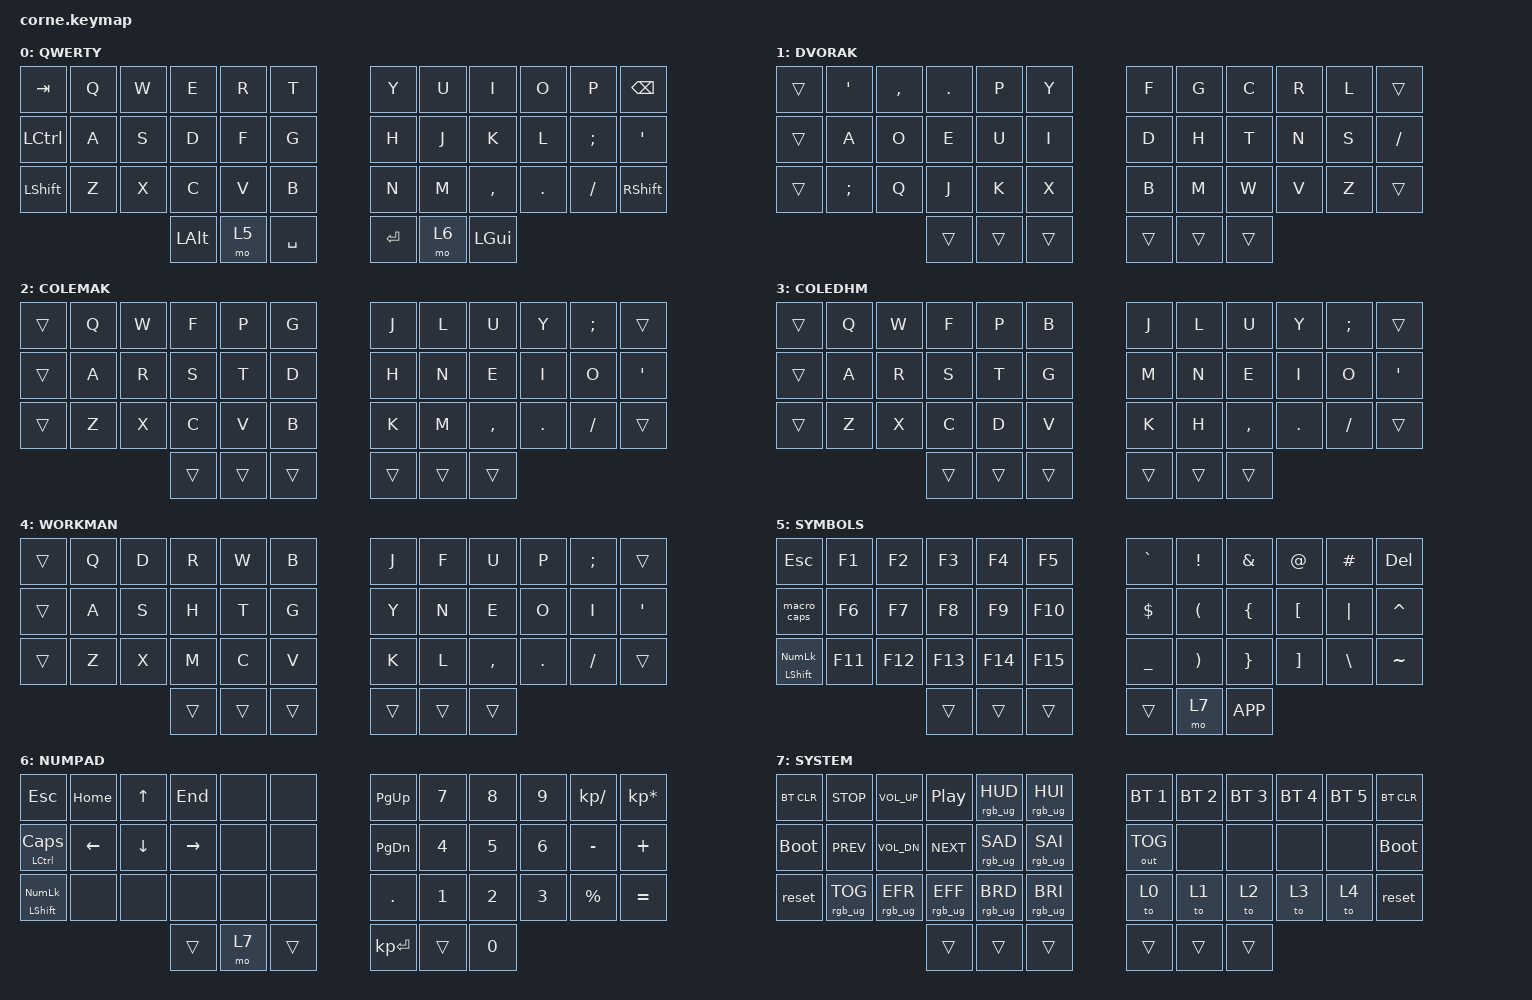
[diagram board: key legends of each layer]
/* CUSTOM FIRMWARE BELOW THIS LINE *********************************************
   https://zmkfirmware.dev/docs/codes/
   https://zmkfirmware.dev/docs/features/keymaps
   https://zmkfirmware.dev/docs/behaviors/key-press
   https://zmkfirmware.dev/docs/behaviors/layers
*******************************************************************************/
/*
 * Firmware modification by Frosthaven
 * <shane.stanley1983@gmail.com>
 */

#include <behaviors.dtsi>
#include <dt-bindings/zmk/keys.h>
#include <dt-bindings/zmk/bt.h>
#include <dt-bindings/zmk/rgb.h>
#include <dt-bindings/zmk/ext_power.h>
#include <dt-bindings/zmk/outputs.h>

&mt {
  tapping-term-ms = <200>;
};

/ {

  macros {
    // necessary for mac capslock to trigger
    ZMK_MACRO(macro_caps,
      tap-ms = <200>;
      bindings = <&kp CAPS>;
    )
  };

  keymap {
    compatible = "zmk,keymap";



    default_layer { // 0
      label = "QWERTY";
//  TAB  |   Q   |   W   |   E   |   R   |   T   ||   Y   |   U   |   I   |   O   |   P   | BKSPC
// CNTRL |   A   |   S   |   D   |   F   |   G   ||   H   |   J   |   K   |   L   |  ; :  |  ' "
// LSHFT |   Z   |   X   |   C   |   V   |   B   ||   N   |   M   |  , <  |  . >  |  / ?  | RSHFT
//                          ALT  | LOWER | SPACE || ENTER | RAISE |  GUI
      bindings = <
        &kp TAB   &kp Q &kp W     &kp E   &kp R &kp T &kp Y &kp U &kp I     &kp O   &kp P    &kp BSPC
        &kp LCTRL &kp A &kp S     &kp D   &kp F &kp G &kp H &kp J &kp K     &kp L   &kp SEMI &kp SQT
        &kp LSHFT &kp Z &kp X     &kp C   &kp V &kp B &kp N &kp M &kp COMMA &kp DOT &kp FSLH &kp RSHFT
        &kp LALT  &mo 5 &kp SPACE &kp RET &mo 6 &kp LGUI
      >;
    };



    dvorak_layer { // 1
      label = "DVORAK";
// _____ |  ' "  |  , <  |  . >  |   P   |   Y   ||   F   |   G   |   C   |   R   |   L   | _____
// _____ |   A   |   O   |   E   |   U   |   I   ||   D   |   H   |   T   |   N   |   S   |  / ? 
// _____ |  ; :  |   Q   |   J   |   K   |   X   ||   B   |   M   |   W   |   V   |   Z   | _____
//                         _____ | _____ | _____ || _____ | _____ | _____
      bindings = <
        &trans &kp SQT  &kp COMMA &kp DOT &kp P  &kp Y &kp F &kp G &kp C &kp R &kp L &trans
        &trans &kp A    &kp O     &kp E   &kp U  &kp I &kp D &kp H &kp T &kp N &kp S &kp FSLH
        &trans &kp SEMI &kp Q     &kp J   &kp K  &kp X &kp B &kp M &kp W &kp V &kp Z &trans
        &trans &trans   &trans    &trans  &trans &trans
      >;
    };


    colemak_layer { // 2
      label = "COLEMAK";
// _____ |   Q   |   W   |   F   |   P   |   G   ||   J   |   L   |   U   |   Y   |  ; :  | _____
// _____ |   A   |   R   |   S   |   T   |   D   ||   H   |   N   |   E   |   I   |   O   |  ' "  
// _____ |   Z   |   X   |   C   |   V   |   B   ||   K   |   M   |  , <  |  . >  |  / ?  | _____
//                         _____ | _____ | _____ || _____ | _____ | _____
      bindings = <
        &trans &kp Q  &kp W  &kp F  &kp P  &kp G &kp J &kp L &kp U     &kp Y   &kp SEMI &trans
        &trans &kp A  &kp R  &kp S  &kp T  &kp D &kp H &kp N &kp E     &kp I   &kp O    &kp SQT
        &trans &kp Z  &kp X  &kp C  &kp V  &kp B &kp K &kp M &kp COMMA &kp DOT &kp FSLH &trans
        &trans &trans &trans &trans &trans &trans
      >;
    };


    colemak_dhm_layer { // 3
      label = "COLEDHM";
// _____ |   Q   |   W   |   F   |   P   |   B   ||   J   |   L   |   U   |   Y   |  ; :  | _____
// _____ |   A   |   R   |   S   |   T   |   G   ||   M   |   N   |   E   |   I   |   O   |  ' "  
// _____ |   Z   |   X   |   C   |   D   |   V   ||   K   |   H   |  , <  |  . >  |  / ?  | _____
//                         _____ | _____ | _____ || _____ | _____ | _____
      bindings = <
        &trans &kp Q  &kp W  &kp F  &kp P  &kp B &kp J &kp L &kp U     &kp Y   &kp SEMI &trans
        &trans &kp A  &kp R  &kp S  &kp T  &kp G &kp M &kp N &kp E     &kp I   &kp O    &kp SQT
        &trans &kp Z  &kp X  &kp C  &kp D  &kp V &kp K &kp H &kp COMMA &kp DOT &kp FSLH &trans
        &trans &trans &trans &trans &trans &trans
      >;
    };



    workman_layer { // 4
      label = "WORKMAN";      
// _____ |   Q   |   D   |   R   |   W   |   B   ||   J   |   F   |   U   |   P   |  ; :  | _____
// _____ |   A   |   S   |   H   |   T   |   G   ||   Y   |   N   |   E   |   O   |   I   |  ' "  
// _____ |   Z   |   X   |   M   |   C   |   V   ||   K   |   L   |  , <  |  . >  |  / ?  | _____
//                         _____ | _____ | _____ || _____ | _____ | _____
      bindings = <
        &trans &kp Q  &kp D  &kp R  &kp W  &kp B &kp J &kp F &kp U     &kp P   &kp SEMI &trans
        &trans &kp A  &kp S  &kp H  &kp T  &kp G &kp Y &kp N &kp E     &kp O   &kp I    &kp SQT
        &trans &kp Z  &kp X  &kp M  &kp C  &kp V &kp K &kp L &kp COMMA &kp DOT &kp FSLH &trans
        &trans &trans &trans &trans &trans &trans
      >;
    };


    lower_layer { // 5
      label = "SYMBOLS";
//  ESC  |   F1  |   F2  |   F3  |   F4  |   F5  ||   `   |   !   |   &   |   @   |   #   |  DEL 
// _____ |   F6  |   F7  |   F8  |   F9  |  F10  ||   $   |   (   |   {   |   [   |   |   |   ^  
// _____ |  F11  |  F12  |  F13  |  F14  |  F15  ||   _   |   )   |   }   |   ]   |   \   |   ~
//                         _____ | _____ | _____ || _____ | ADJUS |  APP  
      bindings = <
        &kp ESC          &kp F1    &kp F2  &kp F3  &kp F4  &kp F5  &kp GRAVE &kp EXCL &kp AMPS &kp AT   &kp HASH      &kp DEL
        &macro_caps   &kp F6  &kp F7  &kp F8  &kp F9  &kp F10 &kp DLLR  &kp LPAR &kp LBRC &kp LBKT &kp PIPE      &kp CARET
        &mt LSHFT KP_NUM &kp F11 &kp F12 &kp F13 &kp F14 &kp F15 &kp UNDER &kp RPAR &kp RBRC &kp RBKT &kp BACKSLASH &kp TILDE
        &trans           &trans  &trans  &trans  &mo 7   &kp K_APP
      >;
    };



    raise_layer { // 6
      label = "NUMPAD";
//  ESC  |  HOME |   UP  |  END  | ..... | MOUS2 ||  PGUP |   7   |   8   |   9   |   /   |   *  
//  CAPS |  LEFT |  DOWN | RIGHT | MOUSU | MOUS1 ||  PGDN |   4   |   5   |   6   |   -   |   +  
// NUMLK | ..... | ..... | MOUSL | MOUSD | MOUSR ||   .   |   1   |   2   |   3   |   %   |   =  
//                         _____ | ADJUS | _____ || KENTR | _____ |   0  
      bindings = <
        &kp ESC          &kp HOME &kp UP   &kp END      &none    &none  &kp PG_UP  &kp N7 &kp N8 &kp N9 &kp KP_DIVIDE &kp KP_MULTIPLY
        &mt LCTRL CAPS   &kp LEFT &kp DOWN &kp RIGHT    &none    &none  &kp PG_DN  &kp N4 &kp N5 &kp N6 &kp MINUS     &kp PLUS
        &mt LSHFT KP_NUM &none    &none    &none        &none    &none  &kp DOT    &kp N1 &kp N2 &kp N3 &kp PERCENT   &kp EQUAL
        &trans           &mo 7    &trans   &kp KP_ENTER &trans   &kp N0
      >;
    };



    adjust_layer { // 7
      label = "SYSTEM";
// BTCLR |  STOP | VOLUP |  PLAY |  _HUD |  _HUI ||  BT1  |  BT2  |  BT3  |  BT4  |  BT5  | BTCLR
//  BOOT |  PREV | VOLDN |  NEXT |  _SAD |  _SAI || OUTPT | ..... | ..... | ..... | ..... |  BOOT
// RESET |  _TOG |  _EFR |  _EFF |  _BRD |  _BRI || QWERT | DVORK | CLMAK | CLDHM | WRKMN | RESET
//                         _____ | _____ | _____ || _____ | _____ | _____
      bindings = <
        &bt BT_CLR   &kp C_STOP       &kp C_VOL_UP    &kp C_PLAY_PAUSE &rgb_ug RGB_HUD &rgb_ug RGB_HUI &bt BT_SEL 1 &bt BT_SEL 2 &bt BT_SEL 3 &bt BT_SEL 4 &bt BT_SEL 5 &bt BT_CLR
        &bootloader  &kp C_PREV       &kp C_VOL_DN    &kp C_NEXT       &rgb_ug RGB_SAD &rgb_ug RGB_SAI &out OUT_TOG &none        &none        &none        &none        &bootloader
        &reset       &rgb_ug RGB_TOG  &rgb_ug RGB_EFR &rgb_ug RGB_EFF  &rgb_ug RGB_BRD &rgb_ug RGB_BRI &to 0        &to 1        &to 2        &to 3        &to 4        &reset
        &trans       &trans           &trans          &trans           &trans          &trans
      >;
    };



  };
};















/* DEFAULT FIRMWARE BELOW THIS LINE ********************************************
*******************************************************************************/
/*
 * Copyright (c) 2020 The ZMK Contributors
 *
 * SPDX-License-Identifier: MIT
 *

#include <behaviors.dtsi>
#include <dt-bindings/zmk/keys.h>
#include <dt-bindings/zmk/bt.h>

/ {
        keymap {
                compatible = "zmk,keymap";

                default_layer {
// -----------------------------------------------------------------------------------------
// |  TAB |  Q  |  W  |  E  |  R  |  T  |   |  Y  |  U   |  I  |  O  |  P  | BKSP |
// | CTRL |  A  |  S  |  D  |  F  |  G  |   |  H  |  J   |  K  |  L  |  ;  |  '   |
// | SHFT |  Z  |  X  |  C  |  V  |  B  |   |  N  |  M   |  ,  |  .  |  /  | SHFT |
//                    | GUI | LWR | SPC |   | ENT | RSE  | ALT |
                        bindings = <
   &kp TAB   &kp Q &kp W &kp E &kp R &kp T   &kp Y &kp U  &kp I     &kp O   &kp P    &kp BSPC
   &kp LCTRL &kp A &kp S &kp D &kp F &kp G   &kp H &kp J  &kp K     &kp L   &kp SEMI &kp SQT
   &kp LSHFT &kp Z &kp X &kp C &kp V &kp B   &kp N &kp M  &kp COMMA &kp DOT &kp FSLH &kp RSHFT
                  &kp LGUI &mo 1 &kp SPACE   &kp RET &mo 2 &kp RALT
                        >;
                };
                lower_layer {
// -----------------------------------------------------------------------------------------
// |  ESC |  1  |  2  |  3  |  4  |  5  |   |  6  |  7  |  8  |  9  |  0  | BKSP |
// | BTCLR| BT1 | BT2 | BT3 | BT4 | BT5 |   | LFT | DWN |  UP | RGT |     |      |
// | SHFT |     |     |     |     |     |   |     |     |     |     |     |      |
//                    | GUI |     | SPC |   | ENT |     | ALT |
                        bindings = <
   &kp ESC    &kp N1       &kp N2       &kp N3       &kp N4       &kp N5            &kp N6   &kp N7   &kp N8 &kp N9    &kp N0 &kp BSPC
   &bt BT_CLR &bt BT_SEL 0 &bt BT_SEL 1 &bt BT_SEL 2 &bt BT_SEL 3 &bt BT_SEL 4      &kp LEFT &kp DOWN &kp UP &kp RIGHT &trans &trans
   &kp LSHFT  &trans       &trans       &trans       &trans       &trans            &trans   &trans   &trans &trans    &trans &trans
                                        &kp LGUI     &trans       &kp SPACE         &kp RET &trans &kp RALT
                        >;
                };

                raise_layer {
// -----------------------------------------------------------------------------------------
// |  ESC |  !  |  @  |  #  |  $  |  %  |   |  ^  |  &  |  *  |  (  |  )  | BKSP |
// | CTRL |     |     |     |     |     |   |  -  |  =  |  {  |  }  | "|" |  `   |
// | SHFT |     |     |     |     |     |   |  _  |  +  |  [  |  ]  |  \  |  ~   | // TODO: Fix this row when &mkp is committed
//                    | GUI |     | SPC |   | ENT |     | ALT |
                        bindings = <
   &kp  ESC  &kp EXCL  &kp AT  &kp HASH  &kp DLLR  &kp PRCNT   &kp CARET &kp AMPS  &kp KP_MULTIPLY &kp LPAR &kp RPAR &kp BSPC
   &kp LCTRL &trans    &trans  &trans    &trans    &trans      &kp MINUS &kp EQUAL &kp LBKT        &kp RBKT &kp PIPE &kp GRAVE
   &kp LSHFT &trans    &trans  &trans    &trans    &trans      &trans    &trans    &trans          &trans   &kp BSLH &kp TILDE
                                   &kp LGUI &trans &kp SPACE   &kp RET &trans &kp RALT
                        >;
                };
        };
};

*/
